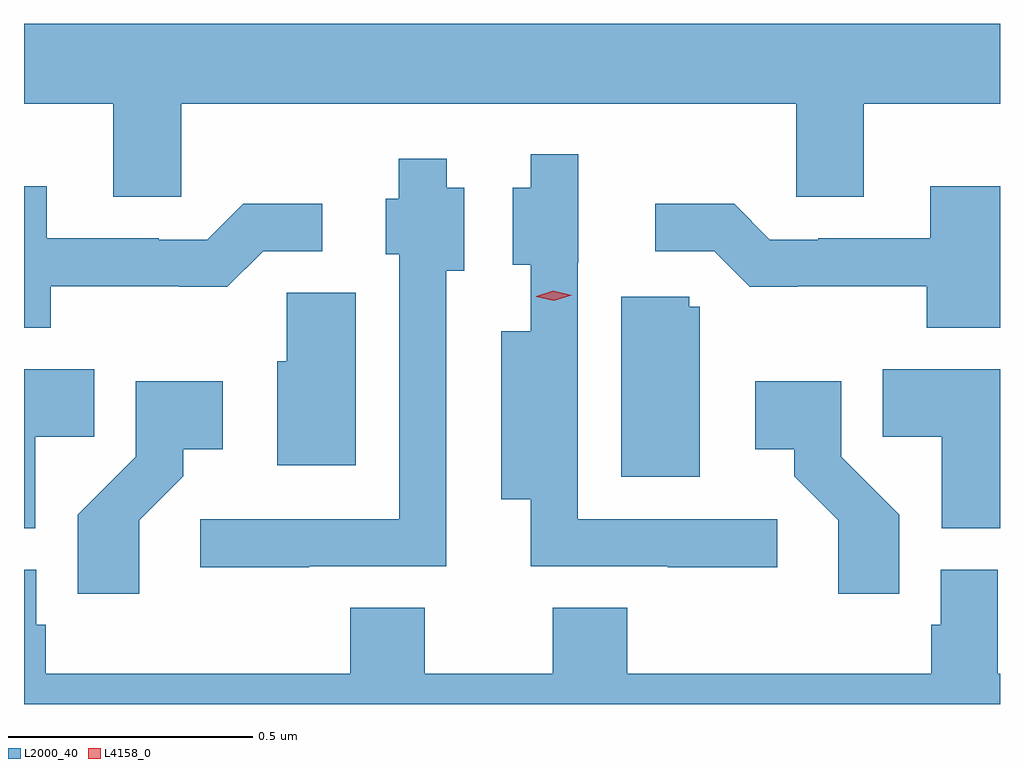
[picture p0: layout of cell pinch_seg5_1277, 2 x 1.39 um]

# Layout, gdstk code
import gdstk
lib = gdstk.Library(unit=1e-6, precision=1e-09)
def P(c, l, *ps):  # polygons
    for p in ps: c.add(gdstk.Polygon(p, *l))
L2000_40 = (2000, 40)
L4158_0 = (4158, 0)

pinch_seg5_1277 = lib.new_cell('pinch_seg5_1277')
P(pinch_seg5_1277, L2000_40, [(383.796,898.052),(385.056,898.052),(385.056,897.862),(385.195,897.862),(385.195,898.052),(385.474,898.052),(385.474,898.216),(383.474,898.216),(383.474,898.052),(383.657,898.052),(383.657,897.862),(383.796,897.862)],
  [(385.018,897.201),(384.609,897.201),(384.609,897.726),(384.61,897.726),(384.61,897.949),(384.512,897.949),(384.512,897.88),(384.476,897.88),(384.476,897.722),(384.512,897.722),(384.512,897.586),(384.452,897.586),(384.452,897.242),(384.512,897.242),(384.512,897.105),(384.793,897.105),(384.793,897.103),(385.018,897.103)],
  [(384.059,897.105),(384.339,897.105),(384.339,897.71),(384.376,897.71),(384.376,897.88),(384.34,897.88),(384.34,897.94),(384.242,897.94),(384.242,897.858),(384.215,897.858),(384.215,897.744),(384.243,897.744),(384.243,897.201),(383.835,897.201),(383.835,897.103),(384.059,897.103)],
  [(383.529,897.678),(383.792,897.678),(383.792,897.677),(383.891,897.677),(383.964,897.75),(384.085,897.75),(384.085,897.847),(383.923,897.847),(383.85,897.774),(383.75,897.774),(383.75,897.777),(383.521,897.777),(383.521,897.883),(383.474,897.883),(383.474,897.593),(383.529,897.593)],
  [(385.474,897.883),(385.331,897.883),(385.331,897.777),(385.102,897.777),(385.102,897.774),(385.002,897.774),(384.929,897.847),(384.768,897.847),(384.768,897.75),(384.888,897.75),(384.961,897.677),(385.06,897.677),(385.06,897.678),(385.324,897.678),(385.324,897.593),(385.474,897.593)],
  [(384.154,897.665),(384.012,897.665),(384.012,897.525),(383.993,897.525),(383.993,897.312),(384.154,897.312)],
  [(384.859,897.636),(384.837,897.636),(384.837,897.657),(384.698,897.657),(384.698,897.288),(384.859,897.288)],
  [(385.474,897.508),(385.234,897.508),(385.234,897.37),(385.355,897.37),(385.355,897.182),(385.474,897.182)],
  [(383.497,897.37),(383.618,897.37),(383.618,897.508),(383.474,897.508),(383.474,897.182),(383.497,897.182)],
  [(383.71,897.199),(383.8,897.289),(383.8,897.344),(383.881,897.344),(383.881,897.484),(383.703,897.484),(383.703,897.329),(383.584,897.21),(383.584,897.048),(383.71,897.048)],
  [(385.268,897.21),(385.149,897.329),(385.149,897.484),(384.972,897.484),(384.972,897.344),(385.052,897.344),(385.052,897.289),(385.143,897.199),(385.143,897.048),(385.268,897.048)],
  [(385.474,896.884),(385.469,896.884),(385.469,897.097),(385.353,897.097),(385.353,896.985),(385.333,896.985),(385.333,896.884),(384.71,896.884),(384.71,897.02),(384.557,897.02),(384.557,896.884),(384.295,896.884),(384.295,897.02),(384.143,897.02),(384.143,896.884),(383.519,896.884),(383.519,896.985),(383.499,896.985),(383.499,897.097),(383.474,897.097),(383.474,896.822),(385.474,896.822)])
P(pinch_seg5_1277, L4158_0, [(384.56,897.649),(384.524,897.657),(384.524,897.658),(384.524,897.658),(384.559,897.669),(384.596,897.66),(384.596,897.66),(384.596,897.66)])

lib.write_gds('pinch_seg5_1277.gds')
